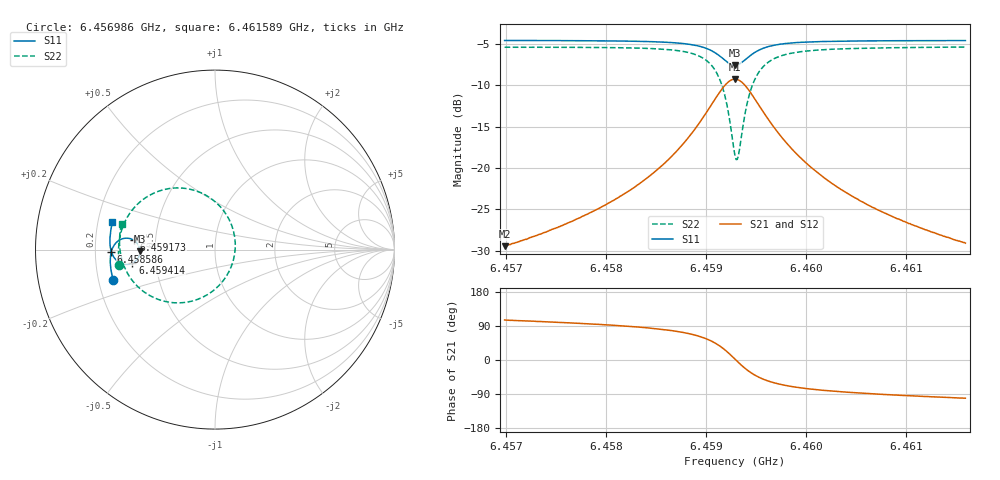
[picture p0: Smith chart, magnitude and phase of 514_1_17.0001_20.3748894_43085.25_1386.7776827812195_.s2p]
#  HZ  S  RI  R  50.00
! Rohde & Schwarz Vector Network Analyzer
! Rohde-Schwarz,ZNB20-2Port,1311601062101988,3.16
! Created: UTC 3/20/2024, 11:15:07 PM
! freq[Hz]  re:S11  im:S11  re:S21  im:S21  re:S12  im:S12  re:S22  im:S22
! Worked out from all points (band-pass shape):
!   401 points, 6.456986 GHz to 6.461589 GHz, reference 50 ohm
!   highest |S21| = -9.24 dB at 6.459288 GHz (marker M1); lowest = -29.5 dB at 6.456986 GHz (marker M2)
!   |S21| within 3 dB of the highest: 6.459058 GHz to 6.459518 GHz (460.5 kHz wide, 0.00713 % of centre)
!   lowest |S11| = -7.6 dB at 6.459288 GHz (marker M3), VSWR 2.44, Z = 20.5 - j0.486 ohm
!   |S11| at or under -10 dB: nowhere
!   |S22| runs from -19.0 to -5.3 dB; largest |S21 - S12| = 0.014
!   S11 on the Smith chart (normalised r, x): 6.456986 GHz: 0.26, -0.14; 6.458586 GHz: 0.27, -0.01; 6.459173 GHz: 0.37, +0.05; 6.459414 GHz: 0.37, -0.07; 6.461589 GHz: 0.26, +0.12
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6.4569862e9  -0.5669 -0.1714  -0.00903 0.0324  -0.00717 0.0324  -0.5321 -0.0841
6.4577573e9  -0.5808 -0.104  -0.00555 0.0505  -0.00308 0.0498  -0.5375 0.00619
6.4582061e9  -0.5837 -0.0588  0.000956 0.0712  0.00432 0.0699  -0.5284 0.0779
6.4585283e9  -0.5798 -0.0201  0.0143 0.0988  0.0183 0.096  -0.5039 0.1513
6.4585858e9  -0.578 -0.0123  0.0185 0.1055  0.0227 0.1025  -0.4957 0.1678
6.458793e9  -0.5649 0.0198  0.0461 0.1379  0.0503 0.133  -0.4441 0.2407
6.4589426e9  -0.5423 0.0461  0.0914 0.1684  0.0947 0.1616  -0.3603 0.305
6.4590807e9  -0.4985 0.0636  0.1787 0.1849  0.1796 0.1775  -0.2011 0.3435
6.4591728e9  -0.454 0.0533  0.2686 0.1535  0.2686 0.1475  -0.0346 0.293
6.4592418e9  -0.4251 0.0213  0.3288 0.0815  0.331 0.0763  0.0809 0.1634
6.4592878e9  -0.4182 -0.00977  0.345 0.0136  0.3489 0.00669  0.1129 0.0363
6.4592993e9  -0.4186 -0.0178  0.3449 -0.00404  0.3487 -0.0116  0.1125 0.00291
6.4593224e9  -0.4223 -0.0333  0.3393 -0.0387  0.3433 -0.0478  0.1012 -0.0631
6.4593684e9  -0.4378 -0.0592  0.3106 -0.0985  0.3128 -0.1105  0.0434 -0.176
6.4594144e9  -0.4599 -0.0755  0.2686 -0.1396  0.2677 -0.1528  -0.0418 -0.2508
6.4595065e9  -0.5032 -0.0822  0.1838 -0.1706  0.1777 -0.182  -0.2107 -0.2968
6.4596561e9  -0.5468 -0.0618  0.0959 -0.1566  0.0875 -0.1628  -0.3783 -0.2473
6.4598172e9  -0.5684 -0.0342  0.0513 -0.1287  0.0437 -0.1314  -0.4585 -0.175
6.4600589e9  -0.581 0.00147  0.0222 -0.0972  0.0163 -0.0977  -0.5064 -0.0925
6.4604156e9  -0.5855 0.0437  0.00592 -0.0697  0.00173 -0.0692  -0.5281 -0.0112
6.4608299e9  -0.5836 0.0853  -0.00144 -0.0518  -0.00436 -0.0509  -0.5319 0.0549
6.4615895e9  -0.5713 0.1525  -0.00657 -0.0345  -0.00819 -0.0336  -0.5204 0.1446
